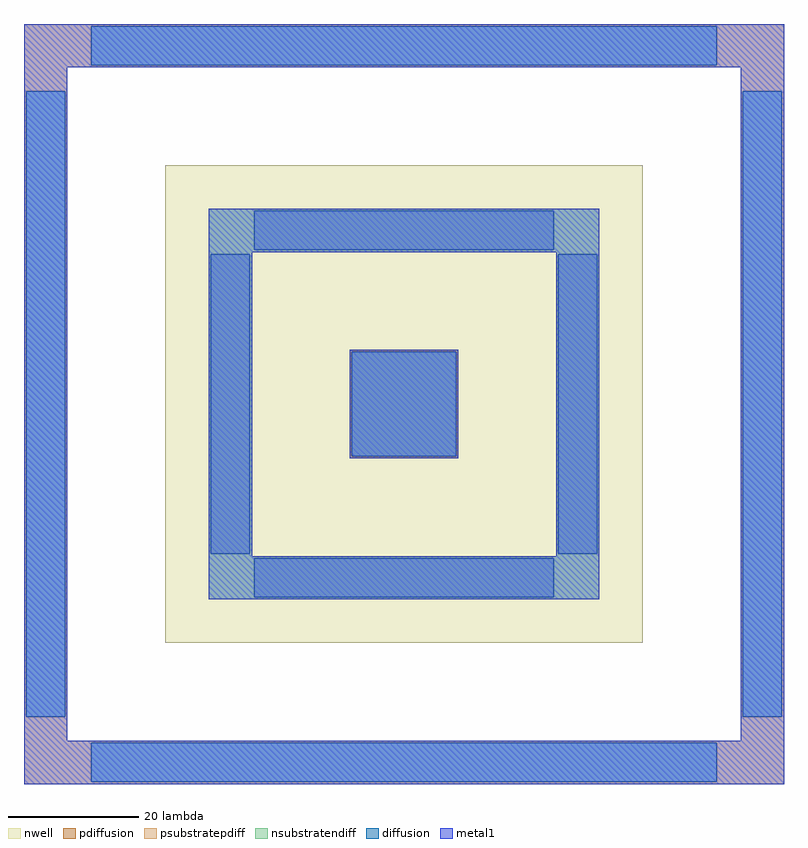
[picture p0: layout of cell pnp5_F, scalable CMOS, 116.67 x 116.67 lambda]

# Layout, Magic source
magic
tech scmos
magscale 1 3
<< nwell >>
rect 110 110 330 330
<< diffusion >>
rect 76 376 364 394
rect 46 76 64 364
rect 151 291 289 309
rect 131 151 149 289
rect 196 196 244 244
rect 291 151 309 289
rect 151 131 289 149
rect 376 76 394 364
rect 76 46 364 64
<< pdiffusion >>
rect 195 244 245 245
rect 195 196 196 244
rect 244 196 245 244
rect 195 195 245 196
<< psubstratepdiff >>
rect 45 394 395 395
rect 45 376 76 394
rect 364 376 395 394
rect 45 375 395 376
rect 45 364 65 375
rect 45 76 46 364
rect 64 76 65 364
rect 375 364 395 375
rect 45 65 65 76
rect 375 76 376 364
rect 394 76 395 364
rect 375 65 395 76
rect 45 64 395 65
rect 45 46 76 64
rect 364 46 395 64
rect 45 45 395 46
<< nsubstratendiff >>
rect 130 309 310 310
rect 130 291 151 309
rect 289 291 310 309
rect 130 290 310 291
rect 130 289 150 290
rect 130 151 131 289
rect 149 151 150 289
rect 290 289 310 290
rect 130 150 150 151
rect 290 151 291 289
rect 309 151 310 289
rect 290 150 310 151
rect 130 149 310 150
rect 130 131 151 149
rect 289 131 310 149
rect 130 130 310 131
<< metal1 >>
rect 45 375 395 395
rect 45 65 65 375
rect 130 290 310 310
rect 130 150 150 290
rect 195 195 245 245
rect 290 150 310 290
rect 130 130 310 150
rect 375 65 395 375
rect 45 45 395 65
<< end >>
